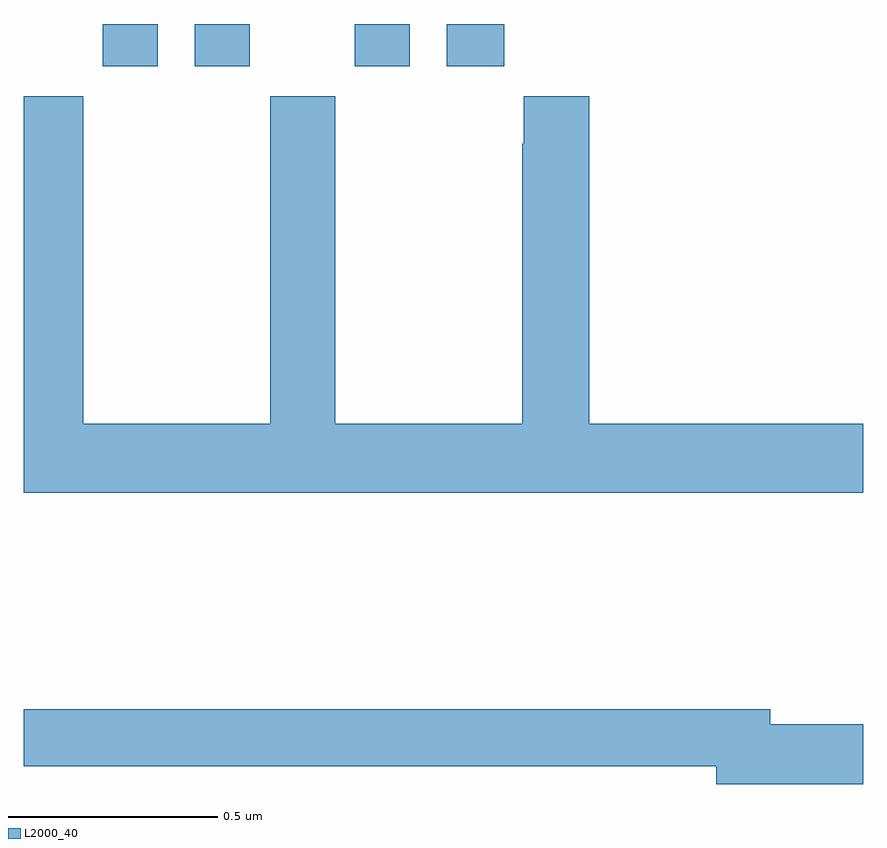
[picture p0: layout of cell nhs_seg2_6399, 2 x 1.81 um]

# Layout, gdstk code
import gdstk
lib = gdstk.Library(unit=1e-6, precision=1e-09)
def R(c, l, rs):  # rectangles x0, y0, x1, y1
    for r in rs: c.add(gdstk.rectangle(r[:2], r[2:], *l))
def P(c, l, *ps):  # polygons
    for p in ps: c.add(gdstk.Polygon(p, *l))
L2000_40 = (2000, 40)

nhs_seg2_6399 = lib.new_cell('nhs_seg2_6399')
R(nhs_seg2_6399, L2000_40, [(191.189,600.699,191.32,600.8), (191.408,600.699,191.539,600.8), (191.789,600.699,191.92,600.8), (192.008,600.699,192.145,600.8)])
P(nhs_seg2_6399, L2000_40, [(193,599.848),(192.347,599.848),(192.347,600.628),(192.191,600.628),(192.191,600.515),(192.187,600.515),(192.187,599.848),(191.742,599.848),(191.742,600.628),(191.587,600.628),(191.587,599.848),(191.142,599.848),(191.142,600.628),(191,600.628),(191,599.684),(193,599.684)],
  [(193,599.132),(192.778,599.132),(192.778,599.168),(191,599.168),(191,599.032),(192.65,599.032),(192.65,598.99),(193,598.99)])

lib.write_gds('nhs_seg2_6399.gds')
